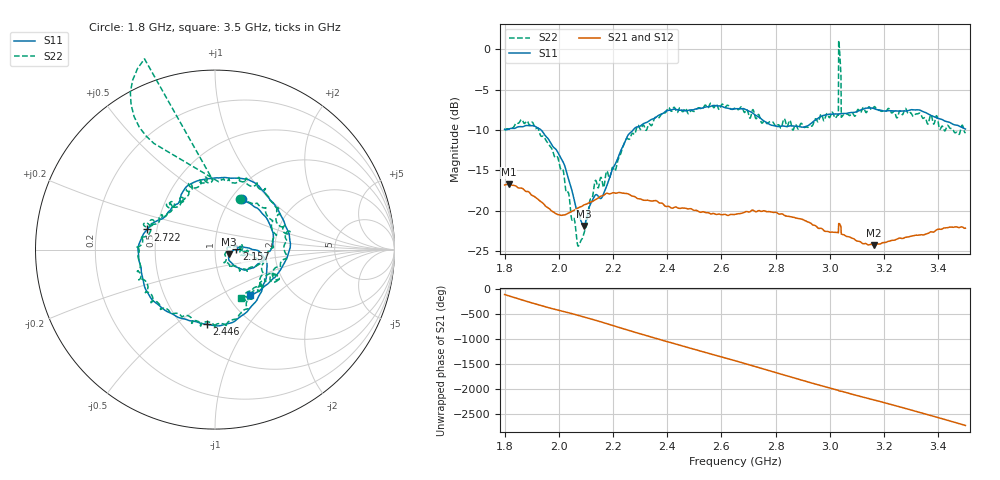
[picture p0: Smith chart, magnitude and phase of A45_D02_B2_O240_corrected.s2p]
! Created with skrf 1.9.0 (http://scikit-rf.org).
# Hz S RI R 50.0
!freq ReS11 ImS11 ReS21 ImS21 ReS12 ImS12 ReS22 ImS22
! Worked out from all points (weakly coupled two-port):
!   1601 points, 1.8 GHz to 3.5 GHz, reference 50 ohm
!   highest |S21| = -16.74 dB at 1.815 GHz (marker M1); lowest = -24.3 dB at 3.163 GHz (marker M2)
!   lowest |S11| = -21.9 dB at 2.092 GHz (marker M3), VSWR 1.17, Z = 58.2 - j3.01 ohm
!   |S11| at or under -10 dB: 1.935 GHz to 2.274 GHz (339.8 MHz wide, 16.1 % of centre)
!   |S22| runs from -24.4 to 1.1 dB; largest |S21 - S12| = 0.0024
!   S11 on the Smith chart (normalised r, x): 1.8 GHz: 1.12, +0.70; 2.157 GHz: 1.27, +0.01; 2.446 GHz: 0.65, -0.66; 2.722 GHz: 0.44, +0.12; 3.5 GHz: 1.26, -0.71
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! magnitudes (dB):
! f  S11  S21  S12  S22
! 1.8 GHz  -9.9  -16.8  -16.8  -10.0
! 1.815 GHz  -9.9  -16.7  -16.7  -9.9
! 1.902 GHz  -9.5  -18.1  -18.1  -9.0
! 1.967 GHz  -11.4  -19.8  -19.9  -12.0
! 2.02 GHz  -14.3  -20.5  -20.6  -15.8
! 2.084 GHz  -21.4  -19.5  -19.4  -23.6
! 2.092 GHz  -21.9  -19.3  -19.4  -22.9
! 2.131 GHz  -18.2  -18.7  -18.7  -16.7
! 2.157 GHz  -18.5  -18.2  -18.2  -15.9
! 2.257 GHz  -10.6  -17.9  -17.9  -11.1
! 2.367 GHz  -8.2  -19.0  -18.9  -8.5
! 2.446 GHz  -7.6  -19.7  -19.7  -7.3
! 2.65 GHz  -7.4  -20.5  -20.4  -7.3
! 2.722 GHz  -8.1  -20.1  -20.0  -8.1
! 2.934 GHz  -9.1  -21.7  -21.7  -9.5
! 3.023 GHz  -8.0  -22.7  -22.8  -8.5
! 3.033 GHz  -8.0  -21.6  -21.5  1.1
! 3.041 GHz  -8.0  -22.1  -22.1  -3.3
! 3.051 GHz  -8.0  -23.0  -23.0  -8.1
! 3.163 GHz  -7.3  -24.3  -24.3  -7.1
! 3.217 GHz  -7.6  -23.8  -23.8  -7.3
! 3.5 GHz  -9.9  -22.2  -22.2  -10.3
